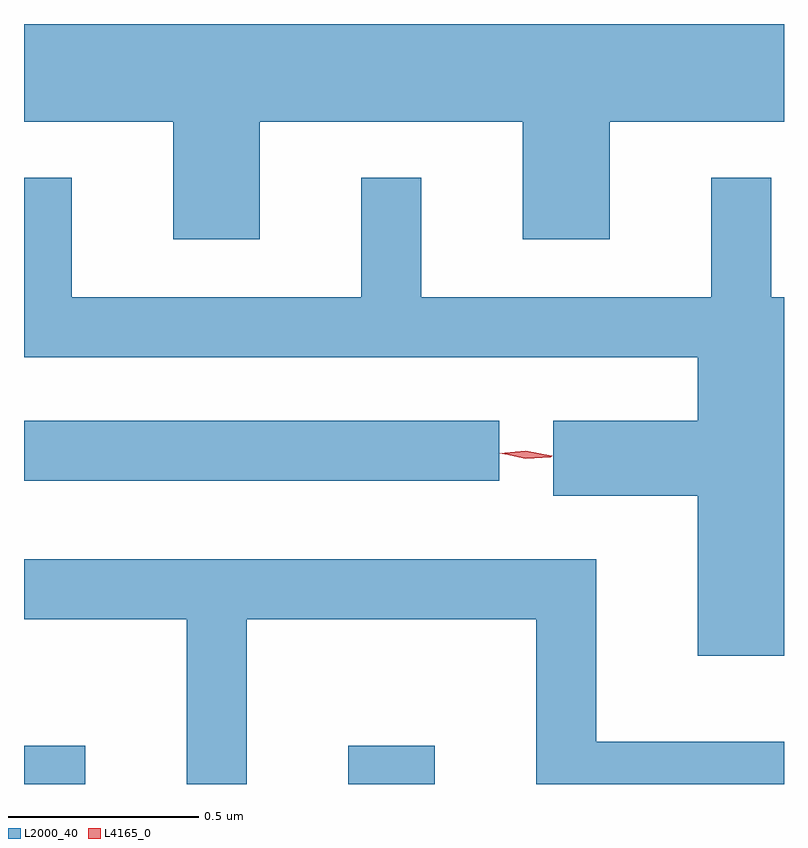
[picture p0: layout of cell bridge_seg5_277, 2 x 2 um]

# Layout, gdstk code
import gdstk
lib = gdstk.Library(unit=1e-6, precision=1e-09)
def R(c, l, rs):  # rectangles x0, y0, x1, y1
    for r in rs: c.add(gdstk.rectangle(r[:2], r[2:], *l))
def P(c, l, *ps):  # polygons
    for p in ps: c.add(gdstk.Polygon(p, *l))
L2000_40 = (2000, 40)
L4165_0 = (4165, 0)

bridge_seg5_277 = lib.new_cell('bridge_seg5_277')
R(bridge_seg5_277, L2000_40, [(945.658,1492.793,945.819,1492.894), (946.511,1492.793,946.739,1492.894), (945.658,1493.591,946.908,1493.749)])
P(bridge_seg5_277, L2000_40, [(946.279,1494.536),(946.971,1494.536),(946.971,1494.226),(947.199,1494.226),(947.199,1494.536),(947.658,1494.536),(947.658,1494.793),(945.658,1494.793),(945.658,1494.536),(946.051,1494.536),(946.051,1494.226),(946.279,1494.226)],
  [(947.658,1494.074),(947.624,1494.074),(947.624,1494.388),(947.466,1494.388),(947.466,1494.074),(946.704,1494.074),(946.704,1494.388),(946.546,1494.388),(946.546,1494.074),(945.784,1494.074),(945.784,1494.388),(945.658,1494.388),(945.658,1493.916),(947.431,1493.916),(947.431,1493.749),(947.051,1493.749),(947.051,1493.551),(947.431,1493.551),(947.431,1493.131),(947.658,1493.131)],
  [(946.244,1493.226),(947.006,1493.226),(947.006,1492.793),(947.658,1492.793),(947.658,1492.904),(947.164,1492.904),(947.164,1493.384),(945.658,1493.384),(945.658,1493.226),(946.086,1493.226),(946.086,1492.793),(946.244,1492.793)])
P(bridge_seg5_277, L4165_0, [(946.978,1493.649),(946.913,1493.663),(946.913,1493.664),(946.913,1493.664),(946.979,1493.668),(947.044,1493.654),(947.045,1493.654),(947.044,1493.653)],
  [(946.978,1493.65),(946.91,1493.663),(946.909,1493.664),(946.91,1493.664),(946.979,1493.67),(947.047,1493.657),(947.048,1493.657),(947.047,1493.656)])

lib.write_gds('bridge_seg5_277.gds')
